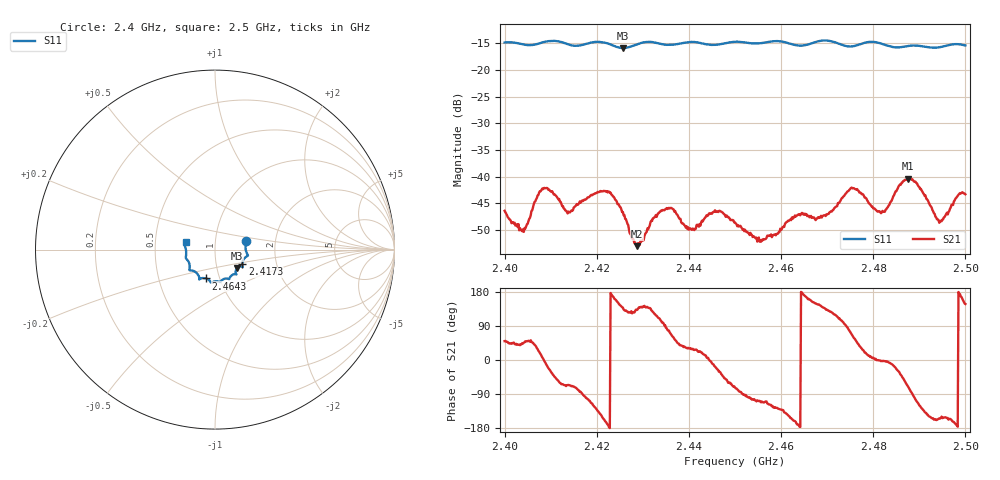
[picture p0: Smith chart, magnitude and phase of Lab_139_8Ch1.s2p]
# Hz S RI R 50
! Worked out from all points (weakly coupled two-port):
!   601 points, 2.4 GHz to 2.5 GHz, reference 50 ohm
!   highest |S21| = -40.38 dB at 2.4875 GHz (marker M1); lowest = -53.0 dB at 2.4287 GHz (marker M2)
!   lowest |S11| = -15.9 dB at 2.4257 GHz (marker M3), VSWR 1.38, Z = 62.4 - j13.1 ohm
!   |S11| at or under -10 dB: start of sweep to end of sweep
!   S12 and S22 are empty: the file has one direction only
!   S11 on the Smith chart (normalised r, x): 2.4 GHz: 1.41, +0.14; 2.4173 GHz: 1.34, -0.23; 2.4643 GHz: 0.86, -0.28; 2.5 GHz: 0.72, +0.06
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2.4e9  0.1731 0.0496  0.00308 0.00366  0 0  0 0
2.403667e9  0.1721 0.0287  0.00238 0.00211  0 0  0 0
2.4085e9  0.1802 -0.025  0.00782 2.66e-05  0 0  0 0
2.413667e9  0.1681 -0.0444  0.00183 -0.00414  0 0  0 0
2.416667e9  0.1529 -0.0745  0.000369 -0.00581  0 0  0 0
2.417333e9  0.1523 -0.0819  -0.000586 -0.00608  0 0  0 0
2.4225e9  0.1487 -0.0936  -0.00721 -0.000986  0 0  0 0
2.425667e9  0.1226 -0.1026  -0.00349 0.0031  0 0  0 0
2.428667e9  0.1155 -0.1289  -0.00149 0.00166  0 0  0 0
2.433333e9  0.1127 -0.1366  -0.00165 0.00423  0 0  0 0
2.436167e9  0.0929 -0.1437  0.002 0.0047  0 0  0 0
2.440167e9  0.0798 -0.1637  0.00279 0.00164  0 0  0 0
2.445667e9  0.05 -0.1636  0.00462 -0.00145  0 0  0 0
2.45e9  0.0295 -0.1806  0.0011 -0.00356  0 0  0 0
2.455833e9  -0.00521 -0.178  -0.00086 -0.00242  0 0  0 0
2.464333e9  -0.0505 -0.1606  -0.00448 1.45e-05  0 0  0 0
2.466667e9  -0.0763 -0.1597  -0.0037 0.00178  0 0  0 0
2.475333e9  -0.1097 -0.1239  0.00301 0.00729  0 0  0 0
2.483333e9  -0.1409 -0.0896  0.00532 -0.000605  0 0  0 0
2.4875e9  -0.1584 -0.0534  0.00341 -0.00894  0 0  0 0
2.494333e9  -0.1624 0.00255  -0.00332 -0.00162  0 0  0 0
2.5e9  -0.1638 0.0421  -0.00578 0.00364  0 0  0 0
